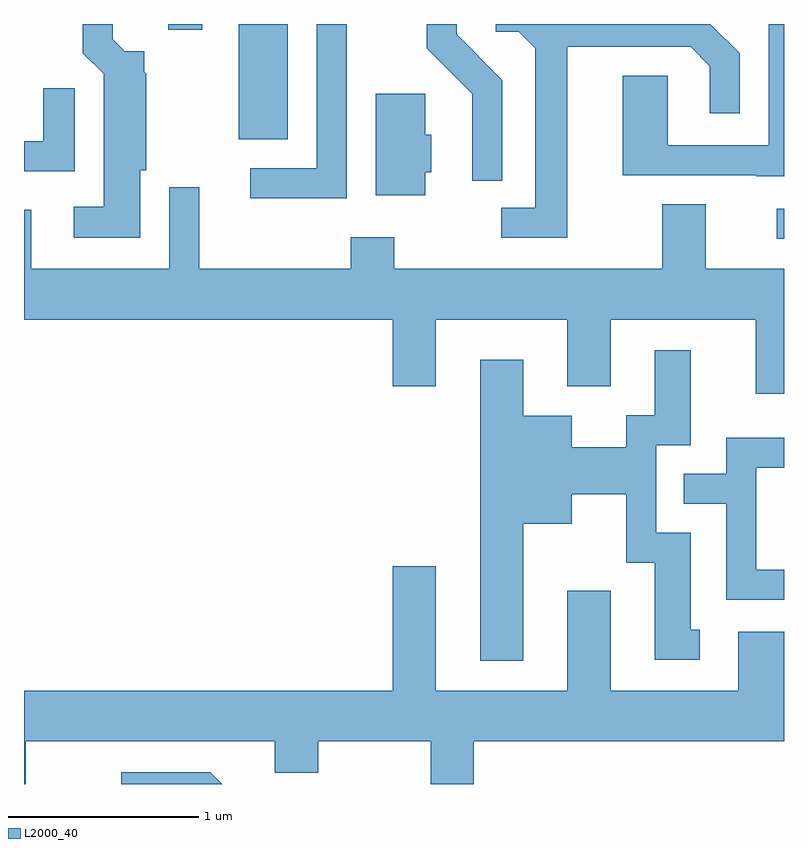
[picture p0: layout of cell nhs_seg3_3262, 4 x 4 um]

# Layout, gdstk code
import gdstk
lib = gdstk.Library(unit=1e-6, precision=1e-09)
def R(c, l, rs):  # rectangles x0, y0, x1, y1
    for r in rs: c.add(gdstk.rectangle(r[:2], r[2:], *l))
def P(c, l, *ps):  # polygons
    for p in ps: c.add(gdstk.Polygon(p, *l))
L2000_40 = (2000, 40)

nhs_seg3_3262 = lib.new_cell('nhs_seg3_3262')
R(nhs_seg3_3262, L2000_40, [(283.573,1250.761,283.611,1250.919), (280.741,1251.286,280.999,1251.892), (280.371,1251.861,280.549,1251.892)])
P(nhs_seg3_3262, L2000_40, [(280.224,1251.121),(280.254,1251.121),(280.254,1251.631),(280.244,1251.641),(280.244,1251.749),(280.142,1251.749),(280.079,1251.812),(280.079,1251.892),(279.921,1251.892),(279.921,1251.739),(280.031,1251.629),(280.031,1250.929),(279.873,1250.929),(279.873,1250.766),(280.224,1250.766)],
  [(283.611,1251.892),(283.531,1251.892),(283.531,1251.254),(282.999,1251.254),(282.999,1251.619),(282.761,1251.619),(282.761,1251.096),(283.465,1251.096),(283.465,1251.091),(283.611,1251.091)],
  [(282.469,1251.771),(283.119,1251.771),(283.221,1251.669),(283.221,1251.423),(283.379,1251.423),(283.379,1251.737),(283.224,1251.892),(282.093,1251.892),(282.093,1251.851),(282.214,1251.851),(282.301,1251.764),(282.301,1250.924),(282.123,1250.924),(282.123,1250.766),(282.469,1250.766)],
  [(282.129,1251.597),(281.889,1251.837),(281.889,1251.892),(281.731,1251.892),(281.731,1251.764),(281.971,1251.524),(281.971,1251.068),(282.129,1251.068)],
  [(281.309,1251.892),(281.151,1251.892),(281.151,1251.134),(280.803,1251.134),(280.803,1250.976),(281.309,1250.976)],
  [(279.879,1251.553),(279.711,1251.553),(279.711,1251.274),(279.611,1251.274),(279.611,1251.116),(279.879,1251.116)],
  [(281.724,1251.111),(281.754,1251.111),(281.754,1251.309),(281.724,1251.309),(281.724,1251.524),(281.461,1251.524),(281.461,1250.991),(281.724,1250.991)],
  [(283.611,1250.604),(283.199,1250.604),(283.199,1250.944),(282.971,1250.944),(282.971,1250.604),(281.559,1250.604),(281.559,1250.769),(281.331,1250.769),(281.331,1250.604),(280.534,1250.604),(280.534,1251.033),(280.376,1251.033),(280.376,1250.604),(279.649,1250.604),(279.649,1250.914),(279.611,1250.914),(279.611,1250.336),(281.551,1250.336),(281.551,1249.986),(281.779,1249.986),(281.779,1250.336),(282.471,1250.336),(282.471,1249.986),(282.699,1249.986),(282.699,1250.336),(283.461,1250.336),(283.461,1249.946),(283.611,1249.946)],
  [(282.239,1249.261),(282.494,1249.261),(282.494,1249.416),(282.781,1249.416),(282.781,1249.056),(282.931,1249.056),(282.931,1248.546),(283.168,1248.546),(283.168,1248.704),(283.119,1248.704),(283.119,1249.214),(282.939,1249.214),(282.939,1249.676),(283.119,1249.676),(283.119,1250.174),(282.931,1250.174),(282.931,1249.834),(282.781,1249.834),(282.781,1249.664),(282.494,1249.664),(282.494,1249.829),(282.239,1249.829),(282.239,1250.124),(282.011,1250.124),(282.011,1248.541),(282.239,1248.541)],
  [(283.611,1249.019),(283.464,1249.019),(283.464,1249.556),(283.611,1249.556),(283.611,1249.714),(283.306,1249.714),(283.306,1249.524),(283.083,1249.524),(283.083,1249.366),(283.306,1249.366),(283.306,1248.861),(283.611,1248.861)],
  [(279.619,1248.116),(280.931,1248.116),(280.931,1247.951),(281.159,1247.951),(281.159,1248.116),(281.751,1248.116),(281.751,1247.892),(281.979,1247.892),(281.979,1248.116),(283.611,1248.116),(283.611,1248.694),(283.371,1248.694),(283.371,1248.384),(282.699,1248.384),(282.699,1248.909),(282.471,1248.909),(282.471,1248.384),(281.779,1248.384),(281.779,1249.039),(281.551,1249.039),(281.551,1248.384),(279.611,1248.384),(279.611,1247.892),(279.619,1247.892)],
  [(280.592,1247.954),(280.123,1247.954),(280.123,1247.892),(280.654,1247.892)])

lib.write_gds('nhs_seg3_3262.gds')
